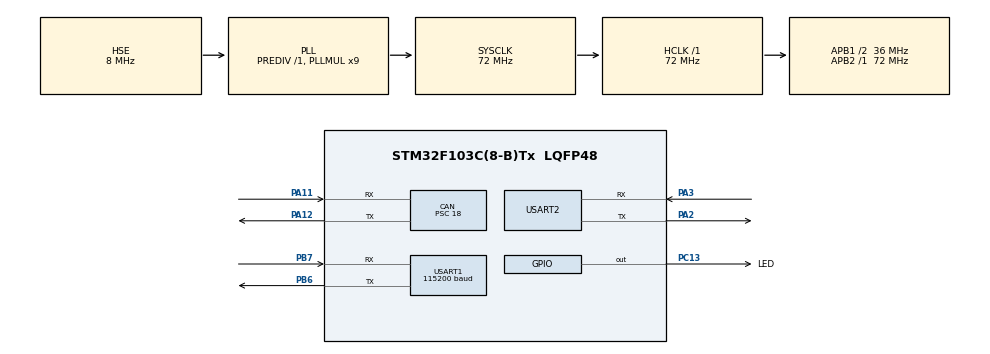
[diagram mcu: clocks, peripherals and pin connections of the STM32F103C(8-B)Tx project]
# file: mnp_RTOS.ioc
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CAN.ABOM=ENABLE
CAN.AWUM=ENABLE
CAN.BS1=CAN_BS1_13TQ
CAN.BS2=CAN_BS2_2TQ
CAN.CalculateBaudRate=125000
CAN.CalculateTimeBit=8000
CAN.CalculateTimeQuantum=500.0
CAN.Mode=CAN_MODE_SILENT_LOOPBACK
CAN.Prescaler=18
CAN.TXFP=ENABLE
FREERTOS.INCLUDE_vTaskDelayUntil=1
FREERTOS.Tasks01=defaultTask,0,128,StartDefaultTask,Default,NULL,Dynamic,NULL,NULL
FREERTOS.configUSE_TIMERS=1
Mcu.Family=STM32F1
Mcu.Name=STM32F103C(8-B)Tx
Mcu.Package=LQFP48
NVIC.CAN1_RX1_IRQn=true\:7\:0\:true\:false\:true\:true\:true\:true\:true
NVIC.CAN1_SCE_IRQn=true\:7\:0\:true\:false\:true\:true\:true\:true\:true
NVIC.PriorityGroup=NVIC_PRIORITYGROUP_4
NVIC.TIM1_UP_IRQn=true\:15\:0\:false\:false\:true\:false\:false\:true\:true
NVIC.TimeBase=TIM1_UP_IRQn
NVIC.TimeBaseIP=TIM1
NVIC.USART1_IRQn=true\:5\:0\:true\:false\:true\:true\:true\:true\:true
NVIC.USB_LP_CAN1_RX0_IRQn=true\:7\:0\:true\:false\:true\:true\:true\:true\:true
PA11.Mode=CAN_Activate
PA11.Signal=CAN_RX
PA12.Mode=CAN_Activate
PA12.Signal=CAN_TX
PA13.Mode=Serial_Wire
PA13.Signal=SYS_JTMS-SWDIO
PA14.Mode=Serial_Wire
PA14.Signal=SYS_JTCK-SWCLK
PA2.Mode=Asynchronous
PA2.Signal=USART2_TX
PA3.Mode=Asynchronous
PA3.Signal=USART2_RX
PB6.Mode=Asynchronous
PB6.Signal=USART1_TX
PB7.Mode=Asynchronous
PB7.Signal=USART1_RX
PC13-TAMPER-RTC.GPIO_Label=LED
PC13-TAMPER-RTC.Signal=GPIO_Output
PD0-OSC_IN.Mode=HSE-External-Oscillator
PD0-OSC_IN.Signal=RCC_OSC_IN
PD1-OSC_OUT.Mode=HSE-External-Oscillator
PD1-OSC_OUT.Signal=RCC_OSC_OUT
ProjectManager.HeapSize=0x300
ProjectManager.StackSize=0x500
ProjectManager.TargetToolchain=MDK-ARM V5.32
RCC.AHBFreq_Value=72000000
RCC.APB1CLKDivider=RCC_HCLK_DIV2
RCC.APB1Freq_Value=36000000
RCC.APB1TimFreq_Value=72000000
RCC.APB2Freq_Value=72000000
RCC.APB2TimFreq_Value=72000000
RCC.HCLKFreq_Value=72000000
RCC.PLLMUL=RCC_PLL_MUL9
RCC.PLLSourceVirtual=RCC_PLLSOURCE_HSE
RCC.SYSCLKFreq_VALUE=72000000
RCC.SYSCLKSource=RCC_SYSCLKSOURCE_PLLCLK
RCC.USBFreq_Value=72000000
USART1.BaudRate=115200
USART1.VirtualMode=VM_ASYNC
USART2.VirtualMode=VM_ASYNC
VP_FREERTOS_VS_CMSIS_V1.Mode=CMSIS_V1
VP_SYS_VS_tim1.Mode=TIM1
board=custom

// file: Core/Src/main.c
/* USER CODE BEGIN Header */
/**
  ******************************************************************************
  * @file           : main.c
  * @brief          : Main program body
  ******************************************************************************
  * @attention
  *
  * Copyright (c) 2023 STMicroelectronics.
  * All rights reserved.
  *
  * This software is licensed under terms that can be found in the LICENSE file
  * in the root directory of this software component.
  * If no LICENSE file comes with this software, it is provided AS-IS.
  *
  ******************************************************************************
  */
/* USER CODE END Header */
#include "main.h"
#include "cmsis_os.h"
#include "can.h"
#include "tim.h"
#include "usart.h"
#include "gpio.h"

/* USER CODE BEGIN Includes */
#include "MNP_msg.h"
/* USER CODE END Includes */

void SystemClock_Config(void);
void MX_FREERTOS_Init(void);

int main(void)
{

  /* MCU Configuration--------------------------------------------------------*/

  /* Reset of all peripherals, Initializes the Flash interface and the Systick. */
  HAL_Init();

  /* Configure the system clock */
  SystemClock_Config();

  /* Initialize all configured peripherals */
  MX_GPIO_Init();
	MX_USART2_UART_Init();
  MX_USART1_UART_Init();
//  MX_TIM3_Init();
  MX_CAN_Init();
  /* USER CODE BEGIN 2 */
	MKS2_CAN_Init();

  /* USER CODE END 2 */

  /* Call init function for freertos objects (in freertos.c) */
  MX_FREERTOS_Init();

  /* Start scheduler */
  osKernelStart();

  /* We should never get here as control is now taken by the scheduler */
  /* Infinite loop */
  while (1)
  {

  }
}

void SystemClock_Config(void)
{
  RCC_OscInitTypeDef RCC_OscInitStruct = {0};
  RCC_ClkInitTypeDef RCC_ClkInitStruct = {0};

  /** Initializes the RCC Oscillators according to the specified parameters
  * in the RCC_OscInitTypeDef structure.
  */
  RCC_OscInitStruct.OscillatorType = RCC_OSCILLATORTYPE_HSE;
  RCC_OscInitStruct.HSEState = RCC_HSE_ON;
  RCC_OscInitStruct.HSEPredivValue = RCC_HSE_PREDIV_DIV1;
  RCC_OscInitStruct.HSIState = RCC_HSI_ON;
  RCC_OscInitStruct.PLL.PLLState = RCC_PLL_ON;
  RCC_OscInitStruct.PLL.PLLSource = RCC_PLLSOURCE_HSE;
  RCC_OscInitStruct.PLL.PLLMUL = RCC_PLL_MUL9;
  if (HAL_RCC_OscConfig(&RCC_OscInitStruct) != HAL_OK)
  {
    Error_Handler();
  }

  /** Initializes the CPU, AHB and APB buses clocks
  */
  RCC_ClkInitStruct.ClockType = RCC_CLOCKTYPE_HCLK|RCC_CLOCKTYPE_SYSCLK
                              |RCC_CLOCKTYPE_PCLK1|RCC_CLOCKTYPE_PCLK2;
  RCC_ClkInitStruct.SYSCLKSource = RCC_SYSCLKSOURCE_PLLCLK;
  RCC_ClkInitStruct.AHBCLKDivider = RCC_SYSCLK_DIV1;
  RCC_ClkInitStruct.APB1CLKDivider = RCC_HCLK_DIV2;
  RCC_ClkInitStruct.APB2CLKDivider = RCC_HCLK_DIV1;

  if (HAL_RCC_ClockConfig(&RCC_ClkInitStruct, FLASH_LATENCY_2) != HAL_OK)
  {
    Error_Handler();
  }
}

void HAL_TIM_PeriodElapsedCallback(TIM_HandleTypeDef *htim)
{
  if (htim->Instance == TIM1) {
    HAL_IncTick();
  }
}

void Error_Handler(void)
{
  __disable_irq();
  while (1)
  {
  }
}

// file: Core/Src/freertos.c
/* USER CODE BEGIN Header */
/**
  ******************************************************************************
  * File Name          : freertos.c
  * Description        : Code for freertos applications
  ******************************************************************************
  * @attention
  *
  * Copyright (c) 2023 STMicroelectronics.
  * All rights reserved.
  *
  * This software is licensed under terms that can be found in the LICENSE file
  * in the root directory of this software component.
  * If no LICENSE file comes with this software, it is provided AS-IS.
  *
  ******************************************************************************
  */
/* USER CODE END Header */

#include "FreeRTOS.h"
#include "task.h"
#include "main.h"
#include "cmsis_os.h"

/* USER CODE BEGIN Includes */
#include "pins.h"
#include "MNP_msg.h"
#include "usart.h"
#include "typedef.h"
#include "protocol.h"
#include <stdio.h>
#include <string.h>
/* USER CODE END Includes */

/* USER CODE BEGIN Variables */

MNP_MSG_t MNP_PUT_MSG; //иницализация шаблона сообщения для отправки приёмнику
MNP_MSG_t MNP_GET_MSG =
{
	.rx_state = __SYNC_BYTE1 //иницализация структуры сообщения полученного от приёмника
};

MNP_M7_CFG_t MNP_M7_CFG = //иницализация шаблона структуры перезагрузки и настройки приёмника
{

	.cfg_state = __SYNC_RST ,
	.parse_delay = GPS_PARSE_DELAY,
	.cfg_msg_delay = GPS_CFG_MSG_DELAY,
	.rst_delay = GPS_RST_DELAY,	//задержка для перезагрузки приёмника
};

osTimerId osProgTimerGPSUARTTimeout;
osTimerId osProgTimerGPSCfg;
osTimerId osProgTimerGPSReset;

osThreadId Task_Parse_GPS_msg_Handle;
osThreadId Task_Switch_Led_Handle;

/* USER CODE END Variables */
osThreadId defaultTaskHandle;

/* USER CODE BEGIN FunctionPrototypes */

void osProgTimerGPSUARTTimeoutCallback(void const *argument);
void osProgTimerGPSCfgCallback (void const *argument);
void osProgTimerGPSResetCallback (void const *argument);

void Parse_GPS_msg (void const * argument);
void Switch_Led (void const * argument);

/* USER CODE END FunctionPrototypes */

void StartDefaultTask(void const * argument);

void MX_FREERTOS_Init(void); /* (MISRA C 2004 rule 8.1) */

/* GetIdleTaskMemory prototype (linked to static allocation support) */
void vApplicationGetIdleTaskMemory( StaticTask_t **ppxIdleTaskTCBBuffer, StackType_t **ppxIdleTaskStackBuffer, uint32_t *pulIdleTaskStackSize );

/* GetTimerTaskMemory prototype (linked to static allocation support) */
void vApplicationGetTimerTaskMemory( StaticTask_t **ppxTimerTaskTCBBuffer, StackType_t **ppxTimerTaskStackBuffer, uint32_t *pulTimerTaskStackSize );

/* USER CODE BEGIN GET_IDLE_TASK_MEMORY */
static StaticTask_t xIdleTaskTCBBuffer;
static StackType_t xIdleStack[configMINIMAL_STACK_SIZE];

void vApplicationGetIdleTaskMemory( StaticTask_t **ppxIdleTaskTCBBuffer, StackType_t **ppxIdleTaskStackBuffer, uint32_t *pulIdleTaskStackSize )
{
  *ppxIdleTaskTCBBuffer = &xIdleTaskTCBBuffer;
  *ppxIdleTaskStackBuffer = &xIdleStack[0];
  *pulIdleTaskStackSize = configMINIMAL_STACK_SIZE;
  /* place for user code */
}
/* USER CODE END GET_IDLE_TASK_MEMORY */

/* USER CODE BEGIN GET_TIMER_TASK_MEMORY */
static StaticTask_t xTimerTaskTCBBuffer;
static StackType_t xTimerStack[configTIMER_TASK_STACK_DEPTH];

void vApplicationGetTimerTaskMemory( StaticTask_t **ppxTimerTaskTCBBuffer, StackType_t **ppxTimerTaskStackBuffer, uint32_t *pulTimerTaskStackSize )
{
  *ppxTimerTaskTCBBuffer = &xTimerTaskTCBBuffer;
  *ppxTimerTaskStackBuffer = &xTimerStack[0];
  *pulTimerTaskStackSize = configTIMER_TASK_STACK_DEPTH;
  /* place for user code */
}
/* USER CODE END GET_TIMER_TASK_MEMORY */

void MX_FREERTOS_Init(void) {

  /* USER CODE BEGIN RTOS_TIMERS */
  osTimerDef (osTimerGPSUARTTimeout, osProgTimerGPSUARTTimeoutCallback);
	osProgTimerGPSUARTTimeout = osTimerCreate(osTimer (osTimerGPSUARTTimeout), osTimerPeriodic, NULL);

	osTimerDef (osTimerGPSReset, osProgTimerGPSResetCallback);
	osProgTimerGPSReset = osTimerCreate(osTimer (osTimerGPSReset), osTimerOnce, NULL);

	osTimerDef (osTimerGPSCfg, osProgTimerGPSCfgCallback);
	osProgTimerGPSCfg = osTimerCreate(osTimer (osTimerGPSCfg), osTimerOnce, NULL);
  /* USER CODE END RTOS_TIMERS */

  /* Create the thread(s) */
  /* definition and creation of defaultTask */
  osThreadDef(defaultTask, StartDefaultTask, osPriorityNormal, 0, 128);
  defaultTaskHandle = osThreadCreate(osThread(defaultTask), NULL);

  /* USER CODE BEGIN RTOS_THREADS */
	osThreadDef (Task_Parse_GPS_msg, Parse_GPS_msg, osPriorityAboveNormal, 0, 256);
	Task_Parse_GPS_msg_Handle = osThreadCreate(osThread(Task_Parse_GPS_msg), NULL);

  osThreadDef (Task_Switch_Led, Switch_Led, osPriorityLow, 0, 128);
	Task_Switch_Led_Handle = osThreadCreate(osThread(Task_Switch_Led), NULL);
  /* USER CODE END RTOS_THREADS */

}

void StartDefaultTask(void const * argument)
{
  /* USER CODE BEGIN StartDefaultTask */
//	osDelay (100);
	GPS_Init(&MNP_PUT_MSG);
	osDelay (100);
	Set_GNSS_interval (&MNP_PUT_MSG, 2000); //2000=1c
	osDelay (100);

  for(;;)
  {
		//Get_GNSS_interval (&MNP_PUT_MSG, 10000); //2000=1c, 1000=5c
		osDelay(5000);
  }
  /* USER CODE END StartDefaultTask */
}

/* USER CODE BEGIN Application */
//--------------------------------------------парсинг gps-сообщения--------------------------------------------//
void Parse_GPS_msg (void const * argument)
{
	int8_t result = -1;
	uint32_t tickcount = osKernelSysTick();
	osTimerStart(osProgTimerGPSUARTTimeout, 5000); //таймера обработки таймаута получения сообщения от приёмника

	for(;;)
  {
	//	result = (GPS_wait_data_Callback (&MNP_GET_MSG)); //парсинг сообщения от приёмника
		if ((result = (GPS_wait_data_Callback (&MNP_GET_MSG))) > 0) //если сообщение от приёмника получено успешно
		{
			osTimerStart(osProgTimerGPSUARTTimeout, 5000); //перегрузка таймера обработки таймаута
			if (MKS2.tmContext.ValidTHRESHOLD == 0) //если сообщение получено, но данные недостоверны
			{
				MNP_M7_CFG.parse_delay = 1000;
				osTimerStart(osProgTimerGPSReset, 50); //запуск таймера перезагрузки модуля
			}
		}
		osDelayUntil (&tickcount, MNP_M7_CFG.parse_delay);
	}
}

//---------------------------------------------мигание светодиодом---------------------------------------------//
void Switch_Led (void const * argument)
{
	LED_RED(ON);
	for(;;)
  {
		TOOGLE_LED_RED();
		osDelay (1000);
	}
}

//------------------------------------------------------------------------------------------//
void osProgTimerGPSUARTTimeoutCallback(void const *argument)
{
		sprintf (buffer_TX_UART2, "gps_timeout\r\n");
		UART2_PutString (buffer_TX_UART2);
		osTimerStart(osProgTimerGPSReset, 50); //запуск таймера перезагрузки модуля
	//MNP_Reset(&MNP_PUT_MSG); //отправка команды перезагрузки приёмника
	//osTimerStart(osProgTimerGPSCfg, GPS_RST_DELAY); //задержка перед отправкой конф. сообщения приёмнику
}

//------------------------------------------------------------------------------------------//
void osProgTimerGPSCfgCallback (void const *argument)
{
	switch(MNP_M7_CFG.cfg_state)
	{
		case __SYNC_RST: //если стадия аппартной перезагрузки модуля
			//GPS_rst(DISABLE);
			MNP_M7_CFG.cfg_state = __SYNC_LOAD_CFG;
			osTimerStart(osProgTimerGPSCfg, MNP_M7_CFG.cfg_msg_delay);
			break;

		case __SYNC_LOAD_CFG: //стадия отправки конф. сообщений приёмнику
			GPS_Init(&MNP_PUT_MSG);
			MNP_M7_CFG.parse_delay = GPS_PARSE_DELAY;
			break;

		default:
			break;
	}
}

//------------------------------------------------------------------------------------------//
void osProgTimerGPSResetCallback (void const *argument)
{
//	MNP_Reset(&MNP_PUT_MSG);
//	MNP_M7_CFG.cfg_state = __SYNC_RST ;
//	osTimerStart(osProgTimerGPSCfg, MNP_M7_CFG.rst_delay); //запуск таймера отправки конфигурационных сообщений модулю через 500мс
}
/* USER CODE END Application */
